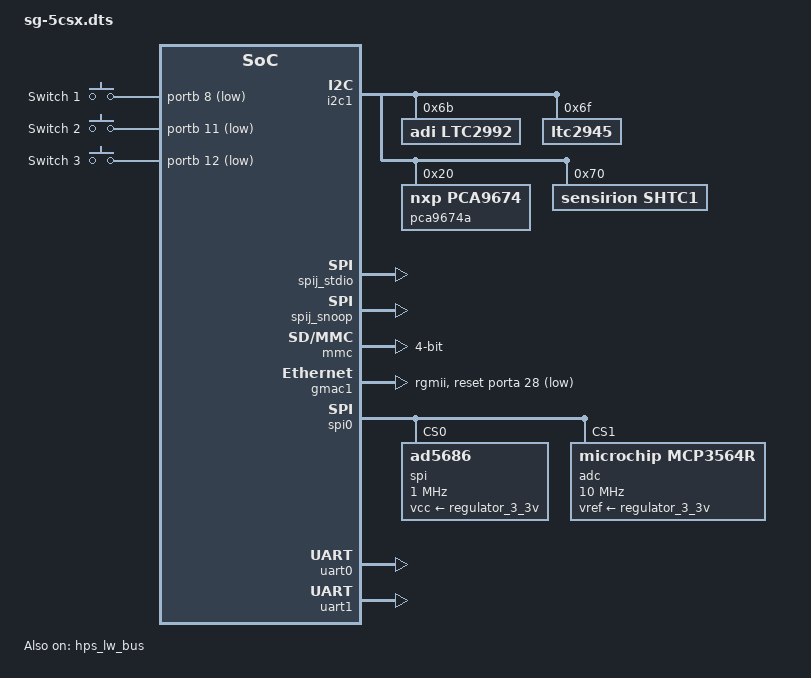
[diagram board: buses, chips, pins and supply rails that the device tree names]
#include "socfpga_mitysom5csx-h6-53b.dtsi"
#include <dt-bindings/interrupt-controller/irq.h>

/ {
	aliases {
		/* this allow the ethaddr uboot environmnet variable contents
		 * to be added to the gmac1 device tree blob.
		 */
		ethernet0 = &gmac1;
	};

	gpio_keys {
		compatible = "gpio-keys";
		#address-cells = <1>;
		#size-cells = <0>;
		/* GPIO 37 */
		button@1 {
			label = "Switch 1";
			linux,code = <0x101>;
			gpios = <&portb 8 1>;
			debounce-interval = <100>;
		};
		/* GPIO 40 */
		button@2 {
			label = "Switch 2";
			linux,code = <0x102>;
			gpios = <&portb 11 1>;
			debounce-interval = <100>;
		};
		/* GPIO 41 */
		button@3 {
			label = "Switch 3";
			linux,code = <0x103>;
			gpios = <&portb 12 1>;
			debounce-interval = <100>;
		};
	};
};

&i2c1 {
	speed-mode = <0>;
	status = "okay";

	/* current monitor */
	ltc2992@0x6b {
		#address-cells = <1>;
		#size-cells = <0>;

		compatible = "adi,ltc2992";
		reg = <0x6b>;

		channel@0 {
			reg = <0x0>;
			shunt-resistor-micro-ohms = <50000>;
		};

		channel@1 {
			reg = <0x1>;
			shunt-resistor-micro-ohms = <50000>;
		};
	};

	/* Power Monitor */
	ltc2945@6F {
		compatible = "ltc2945";
		reg = <0x6F>;
	};

	/* GPIO expander */
	pca9674a@20 {
		compatible = "nxp,pca9674";
		reg = <0x20>;

/*
	interrupt line is not connected

		interrupt-parent = <&irqpin2>;
		interrupts = <3 0>;
		interrupt-controller;
		#interrupt-cells = <2>;
*/

		gpio-controller;
		#gpio-cells = <2>;
	};

	shtc1@70 {
		compatible = "sensirion,shtc1";
		reg = <0x70>;
	};
};

&hps_lw_bus {
	status = "okay";

	sysid_qsys: sysid@000000 {
		compatible = "altr,sysid-1.0";
		reg = <0x000000 0x08>;
	};

	spij_stdio: spij@100 {
		compatible = "kcrocker,spij-stdio";
		reg = <0x0100 0x18>;
		interrupts = <0 40 4>;
	};

	spij_snoop: spij_snoop@200 {
		compatible = "kcrocker,spij-snoop";
		reg = <0x0200 0x14>;
		interrupts = <0 41 4>;
	};
};

&mmc {
	status = "okay";
	num-slots = <1>;
	broken-cd;
	cap-mmc-highspeed;
	cap-sd-highspeed;
	altr,dw-mshc-ciu-div = <3>;
	altr,dw-mshc-sdr-timing = <0 3>;
	bus-width = <4>;
};

&gmac1 {
	status = "okay";
	phy-mode = "rgmii";
	
	txd0-skew-ps = <0>;
	txd1-skew-ps = <0>;
	txd2-skew-ps = <0>;
	txd3-skew-ps = <0>;
	rxd0-skew-ps = <420>;
	rxd1-skew-ps = <420>;
	rxd2-skew-ps = <420>;
	rxd3-skew-ps = <420>;
	txen-skew-ps = <0>;
	txc-skew-ps = <1860>;
	rxdv-skew-ps = <420>;
	rxc-skew-ps = <1680>;
	
	max-frame-size = <3800>;
		
	snps,reset-delays-us = <0 10000 1000000>;
	snps,reset-gpio = <&porta 28 1>; 			
	snps,reset-active-low;
};

&spi0 {
	num-cs = <2>;
	status = "okay";

	/* ad5686 DAC */
	spi@0 {
		compatible = "ad5686";
		reg = <0>;
		vcc-supply = <&regulator_3_3v>;
		spi-max-frequency = <1000000>;
	};

	/* mcp3564 ADC */
	adc@1 {
		compatible = "microchip,mcp3564r";
		reg = <1>;
		vref-supply = <&regulator_3_3v>;
		spi-cpha;
		spi-cpol;

		spi-max-frequency = <10000000>;
		microchip,hw-device-address = <1>;

		#address-cells = <1>;
		#size-cells = <0>;

		channel@0 {
			/* CH0 to AGND */
			reg = <0>;
			label = "CH0";
		};

		channel@1 {
			/* CH1 to AGND */
			reg = <1>;
			label = "CH1";
		};

		channel@2 {
			/* CH2 to AGND */
			reg = <2>;
			label = "CH2";
		};

		channel@3 {
			/* CH3 to AGND */
			reg = <3>;
			label = "CH3";
		};

		channel@4 {
			/* CH4 to AGND */
			reg = <4>;
			label = "CH4";
		};

		channel@5 {
			/* CH5 to AGND */
			reg = <5>;
			label = "CH5";
		};

		channel@6 {
			/* CH6 to AGND */
			reg = <6>;
			label = "CH6";
		};

		channel@7 {
			/* CH7 to AGND */
			reg = <7>;
			label = "CH7";
		};
	};
};

&uart0 {
	status = "okay";
};

&uart1 {
	status = "okay";
};
